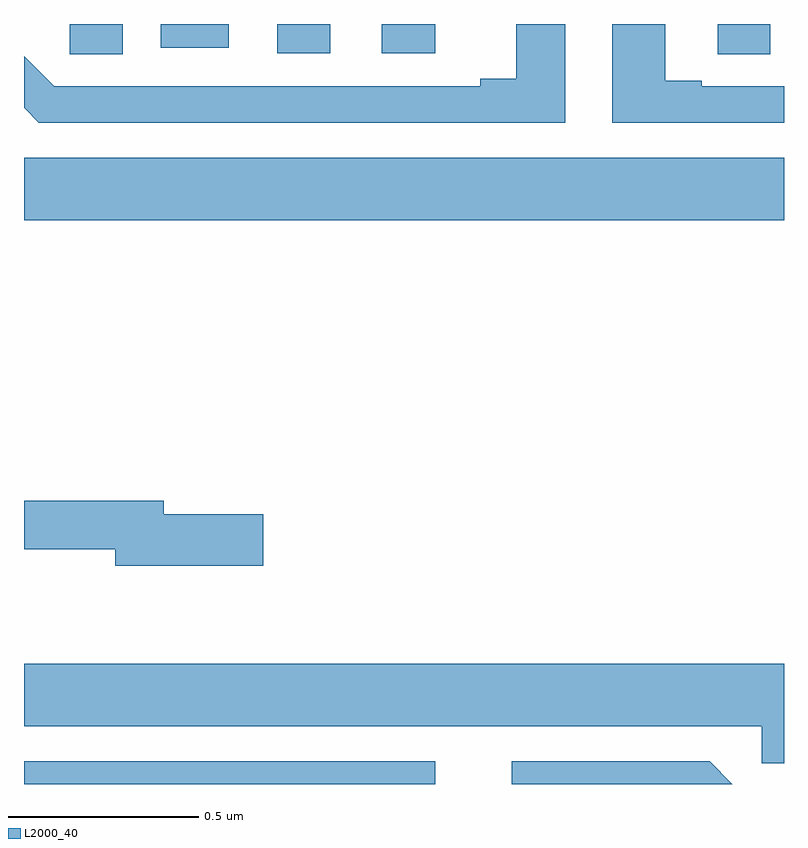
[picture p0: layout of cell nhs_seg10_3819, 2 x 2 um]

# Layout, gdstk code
import gdstk
lib = gdstk.Library(unit=1e-6, precision=1e-09)
def R(c, l, rs):  # rectangles x0, y0, x1, y1
    for r in rs: c.add(gdstk.rectangle(r[:2], r[2:], *l))
def P(c, l, *ps):  # polygons
    for p in ps: c.add(gdstk.Polygon(p, *l))
L2000_40 = (2000, 40)

nhs_seg10_3819 = lib.new_cell('nhs_seg10_3819')
R(nhs_seg10_3819, L2000_40, [(158,1297.5,159.082,1297.56), (158,1298.984,160,1299.148), (158.121,1299.421,158.26,1299.5), (159.825,1299.421,159.964,1299.5), (158.666,1299.423,158.806,1299.5), (158.942,1299.423,159.082,1299.5), (158.36,1299.438,158.539,1299.5)])
P(nhs_seg10_3819, L2000_40, [(160,1299.336),(159.784,1299.336),(159.784,1299.351),(159.688,1299.351),(159.688,1299.5),(159.548,1299.5),(159.548,1299.24),(160,1299.24)],
  [(159.424,1299.5),(159.296,1299.5),(159.296,1299.356),(159.2,1299.356),(159.2,1299.336),(158.079,1299.336),(158,1299.415),(158,1299.279),(158.039,1299.24),(159.424,1299.24)],
  [(158.629,1298.21),(158.368,1298.21),(158.368,1298.246),(158,1298.246),(158,1298.118),(158.24,1298.118),(158.24,1298.075),(158.629,1298.075)],
  [(160,1297.816),(158,1297.816),(158,1297.652),(159.942,1297.652),(159.942,1297.554),(160,1297.554)],
  [(159.804,1297.56),(159.284,1297.56),(159.284,1297.5),(159.864,1297.5)])

lib.write_gds('nhs_seg10_3819.gds')
